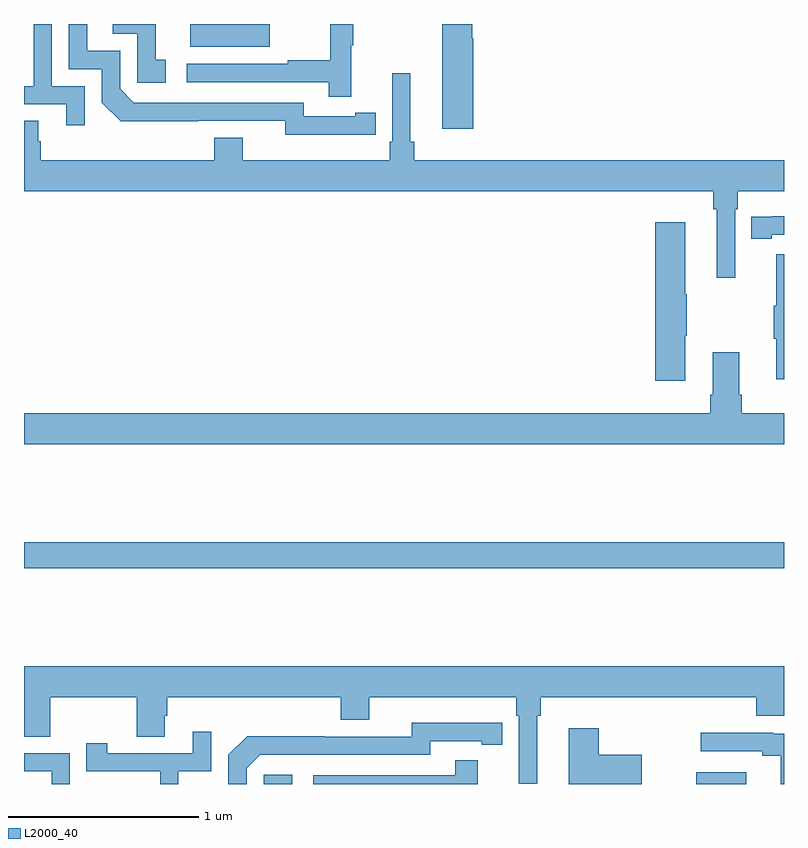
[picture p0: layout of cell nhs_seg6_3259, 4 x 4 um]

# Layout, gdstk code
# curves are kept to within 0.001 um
import gdstk
lib = gdstk.Library(unit=1e-6, precision=1e-09)
def R(c, l, rs):  # rectangles x0, y0, x1, y1
    for r in rs: c.add(gdstk.rectangle(r[:2], r[2:], *l))
def P(c, l, *ps):  # polygons
    for p in ps: c.add(gdstk.Polygon(p, *l))
L2000_40 = (2000, 40)

nhs_seg6_3259 = lib.new_cell('nhs_seg6_3259')
R(nhs_seg6_3259, L2000_40, [(302.262,993.5,302.413,993.55), (304.538,993.5,304.801,993.562), (301,994.636,305,994.772), (301.874,997.379,302.293,997.5)])
P(nhs_seg6_3259, L2000_40, [(302.723,997.387),(302.734,997.387),(302.734,997.5),(302.613,997.5),(302.613,997.31),(302.389,997.31),(302.389,997.29),(301.857,997.29),(301.857,997.194),(302.605,997.194),(302.605,997.116),(302.723,997.116)],
  [(301.747,997.311),(301.694,997.311),(301.694,997.5),(301.467,997.5),(301.467,997.449),(301.596,997.449),(301.596,997.191),(301.747,997.191)],
  [(302.744,996.918),(302.852,996.918),(302.852,997.034),(302.744,997.034),(302.744,997.014),(302.472,997.014),(302.472,997.086),(301.578,997.086),(301.506,997.158),(301.506,997.359),(301.333,997.359),(301.333,997.5),(301.236,997.5),(301.236,997.263),(301.41,997.263),(301.41,997.086),(301.508,996.989),(302.376,996.99),(302.376,996.917)],
  [(301.32,997.173),(301.146,997.173),(301.146,997.5),(301.05,997.5),(301.05,997.173),(301,997.173),(301,997.077),(301.223,997.077),(301.223,996.966),(301.32,996.966)],
  [(303.364,997.425),(303.359,997.425),(303.359,997.5),(303.2,997.5),(303.2,996.948),(303.364,996.948)],
  [(304.743,996.524),(304.757,996.524),(304.757,996.62),(305,996.62),(305,996.784),(303.053,996.784),(303.053,996.88),(303.034,996.88),(303.034,997.24),(302.937,997.24),(302.937,996.88),(302.924,996.88),(302.924,996.784),(302.152,996.784),(302.152,996.901),(302,996.901),(302,996.784),(301.088,996.784),(301.088,996.882),(301.075,996.882),(301.075,996.992),(301,996.992),(301,996.62),(304.627,996.62),(304.627,996.524),(304.646,996.524),(304.646,996.165),(304.743,996.165)],
  [(304.936,996.39),(305,996.39),(305,996.487),(304.936,996.487),(304.936,996.486),(304.828,996.486),(304.828,996.37),(304.936,996.37)],
  [(304.48,995.86),(304.488,995.86),(304.488,996.077),(304.48,996.077),(304.48,996.457),(304.322,996.457),(304.322,995.622),(304.48,995.622)],
  [(305,996.289),(304.958,996.289),(304.958,996.017),(304.947,996.017),(304.947,995.843),(304.958,995.843),(304.958,995.631),(305,995.631)],
  [(305,995.452),(304.778,995.452),(304.778,995.548),(304.765,995.548),(304.765,995.773),(304.625,995.773),(304.625,995.548),(304.613,995.548),(304.613,995.452),(301,995.452),(301,995.288),(305,995.288)],
  [(303.7,993.86),(303.719,993.86),(303.719,993.956),(304.853,993.956),(304.853,993.858),(305,993.858),(305,994.12),(301,994.12),(301,993.748),(301.137,993.748),(301.137,993.956),(301.594,993.956),(301.594,993.748),(301.741,993.748),(301.741,993.858),(301.754,993.858),(301.754,993.956),(302.666,993.956),(302.666,993.839),(302.818,993.839),(302.818,993.956),(303.59,993.956),(303.59,993.86),(303.603,993.86),(303.603,993.501),(303.7,993.501)],
  [(302.172,993.582),(302.244,993.654),(303.138,993.654),(303.138,993.726),(303.41,993.726),(303.41,993.706),(303.518,993.706),(303.518,993.822),(303.042,993.823),(303.042,993.75),(302.582,993.75),(302.582,993.752),(302.174,993.752),(302.076,993.654),(302.076,993.5),(302.172,993.5)],
  [(304.252,993.655),(304.025,993.655),(304.025,993.793),(303.866,993.793),(303.866,993.5),(304.252,993.5)],
  [(301.812,993.567),(301.986,993.567),(301.986,993.775),(301.889,993.775),(301.889,993.663),(301.438,993.663),(301.438,993.715),(301.327,993.715),(301.327,993.567),(301.716,993.567),(301.716,993.5),(301.812,993.5)],
  [(305,993.765),(304.943,993.765),(304.943,993.77),(304.563,993.77),(304.563,993.672),(304.886,993.672),(304.886,993.65),(304.982,993.65),(304.982,993.5),(305,993.5)],
  [(301.242,993.663),(301,993.663),(301,993.567),(301.146,993.567),(301.146,993.5),(301.242,993.5)],
  [(303.389,993.625),(303.271,993.625),(303.271,993.546),(302.523,993.546),(302.523,993.5),(303.389,993.5)])

lib.write_gds('nhs_seg6_3259.gds')
